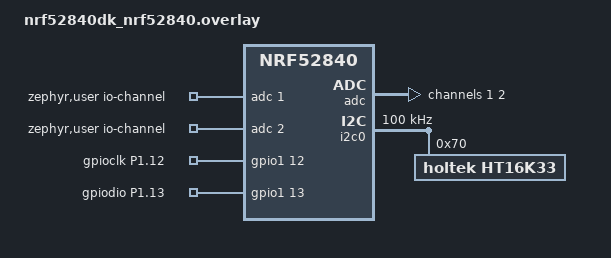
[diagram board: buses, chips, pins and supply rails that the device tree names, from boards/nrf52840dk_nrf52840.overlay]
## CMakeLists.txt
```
cmake_minimum_required(VERSION 3.20.0)
set(CMAKE_EXPORT_COMPILE_COMMANDS)
find_package(Zephyr REQUIRED HINTS $ENV{ZEPHYR_BASE})

project(FinalProject)

FILE(GLOB app_sources src/*.c)
target_sources(app PRIVATE ${app_sources})
```

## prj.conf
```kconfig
CONFIG_PRINTK=y
CONFIG_LOG=y
CONFIG_I2C=y
CONFIG_LED=y
CONFIG_KSCAN=y
CONFIG_KSCAN_INIT_PRIORITY=95
CONFIG_HT16K33_KEYSCAN=y
CONFIG_GPIO=y
CONFIG_ADC=y
```

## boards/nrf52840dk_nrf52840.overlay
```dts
// To get started, press Ctrl+Space to bring up the completion menu and view the available nodes.

// You can also use the buttons in the sidebar to perform actions on nodes.
// Actions currently available include:

// * Enabling / disabling the node
// * Adding the bus to a bus
// * Removing the node
// * Connecting ADC channels

// For more help, browse the DeviceTree documentation at https://docs.zephyrproject.org/latest/guides/dts/index.html
// You can also visit the nRF DeviceTree extension documentation at https://nrfconnect.github.io/vscode-nrf-connect/devicetree/nrfdevicetree.html

/ {
	zephyr,user {
		io-channels = <&adc 1>, <&adc 2>;
	};
	
	aliases{
		gpio-clk = &gpioclk;
		gpio-dio = &gpiodio;
	};

	gpiocustom{
		status = "okay";
		compatible = "gpio-keys";

		gpioclk: gpioclk{
			gpios = <&gpio1 12 GPIO_ACTIVE_HIGH>;
			label = "gpioclk P1.12";
		};

		gpiodio: gpiodio{
			gpios = <&gpio1 13 GPIO_ACTIVE_HIGH>;
			label = "gpiodio P1.13";
		};
	};
};

&spi3 {
	status = "disabled";
};

&adc {
	#address-cells = <1>;
	#size-cells = <0>;

	channel@1 {
		reg = <1>;
		zephyr,gain = "ADC_GAIN_1";
		zephyr,reference = "ADC_REF_INTERNAL";
		zephyr,acquisition-time = <ADC_ACQ_TIME_DEFAULT>;
		zephyr,input-positive = <NRF_SAADC_AIN1>; /* P0.03 */
		zephyr,resolution = <10>;
		// zephyr,differential;
	};

	channel@2 {
		reg = <2>;
		zephyr,gain = "ADC_GAIN_1";
		zephyr,reference = "ADC_REF_INTERNAL";
		zephyr,acquisition-time = <ADC_ACQ_TIME_DEFAULT>;
		zephyr,input-positive = <NRF_SAADC_AIN2>; /* P0.04 */
		zephyr,resolution = <10>;
		// zephyr,differential;
	};
};

&i2c0 {
	clock-frequency = <I2C_BITRATE_STANDARD>;

	ht16k33@70 {
		compatible = "holtek,ht16k33";
		reg = <0x70>;
                /* Uncomment to use IRQ instead of polling: */
		/* irq-gpios = <&gpio1 8 (GPIO_PULL_UP | GPIO_ACTIVE_LOW)>; */

		keyscan {
			compatible = "holtek,ht16k33-keyscan";
		};
	};
};
```

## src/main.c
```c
#include <inttypes.h>
#include <stddef.h>
#include <stdint.h>

#include <zephyr/kernel.h>
#include <zephyr/device.h>
#include <zephyr/devicetree.h>
#include <zephyr/sys/util.h>
#include <zephyr/drivers/adc.h>
#include <zephyr/sys/printk.h>
#include <zephyr/drivers/kscan.h>
#include <zephyr/drivers/led.h>

#include "led.h"
#include "batterydisplay.h"
#include "value.h"

struct k_timer my_timer;
struct k_work my_work;

static int seconds = 0;
static int level = 4;
static int status = 0;

#define ADC_NODE DT_PATH(zephyr_user)
#if !DT_NODE_EXISTS(ADC_NODE) || !DT_NODE_HAS_PROP(ADC_NODE, io_channels)
#error "No suitable devicetree overlay specified"
#endif

#define ADC_SPEC_AND_COMMA(node_id, prop, idx) \
    ADC_DT_SPEC_GET_BY_IDX(node_id, idx),

static const struct adc_dt_spec adc_channels[] = {
    DT_FOREACH_PROP_ELEM(ADC_NODE, io_channels, ADC_SPEC_AND_COMMA)
};

// add for joystick
struct k_timer my_timer1;
struct k_work my_work1;

int32_t preX = 0;
int32_t preY = 0;
static const int ADC_MAX = 1023;
static const int AXIS_DEVIATION = ADC_MAX / 2;
int32_t nowX = 0;
int32_t nowY = 0;
int err;
uint16_t buf;
struct adc_sequence sequence = {
    .buffer = &buf,
    /* buffer size in bytes, not number of samples */
    .buffer_size = sizeof(buf),
    .resolution = 10, // Ensure the resolution is set correctly
};

bool isChange(void)
{
    if ((nowX < (preX - 50)) || nowX > (preX + 50)) {
        preX = nowX;
        return true;
    }

    if ((nowY < (preY - 50)) || nowY > (preY + 50)) {
        preY = nowY;
        return true;
    }
    return false;
}

void adc_read_work_handler(struct k_work *work)
{
    err = adc_channel_setup(adc_channels[0].dev, &adc_channels[0].channel_cfg);
    if (err < 0) {
        printk("Could not setup channel 0 (%d)\n", err);
        return;
    }

    (void)adc_sequence_init_dt(&adc_channels[0], &sequence);
    err = adc_read(adc_channels[0].dev, &sequence);
    if (err < 0) {
        printk("Could not read channel 0 (%d)\n", err);
        return;
    }

    nowX = (int32_t)buf;

    err = adc_channel_setup(adc_channels[1].dev, &adc_channels[1].channel_cfg);
    if (err < 0) {
        printk("Could not setup channel 1 (%d)\n", err);
        return;
    }

    (void)adc_sequence_init_dt(&adc_channels[1], &sequence);
    err = adc_read(adc_channels[1].dev, &sequence);
    if (err < 0) {
        printk("Could not read channel 1 (%d)\n", err);
        return;
    }

    nowY = (int32_t)buf;

    printk("Joy X: %" PRIu32 ", ", nowX);
    printk("Joy Y: %" PRIu32 ", ", nowY);

    if (nowX >= 65500 || nowY >= 65500) {
        return;
    }

    bool checkFlag = isChange();

    if (nowX == ADC_MAX && nowY == ADC_MAX) {
        status = 0;
    } else if (nowX < AXIS_DEVIATION && nowY == ADC_MAX) {
        status = 3;
    } else if (nowX > AXIS_DEVIATION && nowY == ADC_MAX) {
        status = 1;
    } else if (nowY > AXIS_DEVIATION && nowX == ADC_MAX) {
        status = 4;
    } else if (nowY < AXIS_DEVIATION && nowX == ADC_MAX) {
        status = 2;
    }
    printk("\n");

    if (status == 1) {
        if (level == 3) level++;
    }
    else if (status == 2) {
        if (level == 4) level--;
    }
    else if (status == 3) {
        if (level == 4) level--;
    }
    else if (status == 4) {
        if (level == 3) level++;
    }

    printk("status : %d, level : %d\n", status, level);
}

void my_timer1_handler(struct k_timer *dummy)
{
    k_work_submit(&my_work1);
}

void my_work_handler(struct k_work *work)
{
    printk("Time: %d\n", seconds);

    // Display the time on the LED matrix
    led_on_seconds(seconds);

    // Display the time on the battery display
    if (seconds == 0) {
        display_level(0);
    } else if (seconds > 0 && seconds <= 15) {
        display_level(1); // 빨간
    } else if (seconds > 15 && seconds <= 30) {
        display_level(3); // 주황
    } else if (seconds > 30 && seconds <= 45) {
        display_level(5); // 초록
    } else {
        display_level(7); // 파랑
    }

    // Increment the seconds
    seconds = seconds + 15;
    if (seconds > 60) {
        seconds = 0;
    }
}

K_WORK_DEFINE(my_work, my_work_handler);

void my_timer_handler(struct k_timer *dummy)
{
    k_work_submit(&my_work);
}

K_TIMER_DEFINE(my_timer, my_timer_handler, NULL);

int main(void)
{
    printk("Seconds counter example 2\n");
    int ret = DK_OK;

    ret = batterydisplay_intit();
    if (ret != DK_OK) {
        printk("Error initializing battery display\n");
        return DK_ERR;
    }

    ret = led_init();
    if (ret != DK_OK) {
        printk("Error initializing LED\n");
        return DK_ERR;
    }

    // Start the timer
    k_timer_start(&my_timer, K_SECONDS(1), K_SECONDS(1));

    k_work_init(&my_work1, adc_read_work_handler);
    k_timer_init(&my_timer1, my_timer1_handler, NULL);
    k_timer_start(&my_timer1, K_MSEC(200), K_MSEC(200));
    return DK_OK;
}
```
